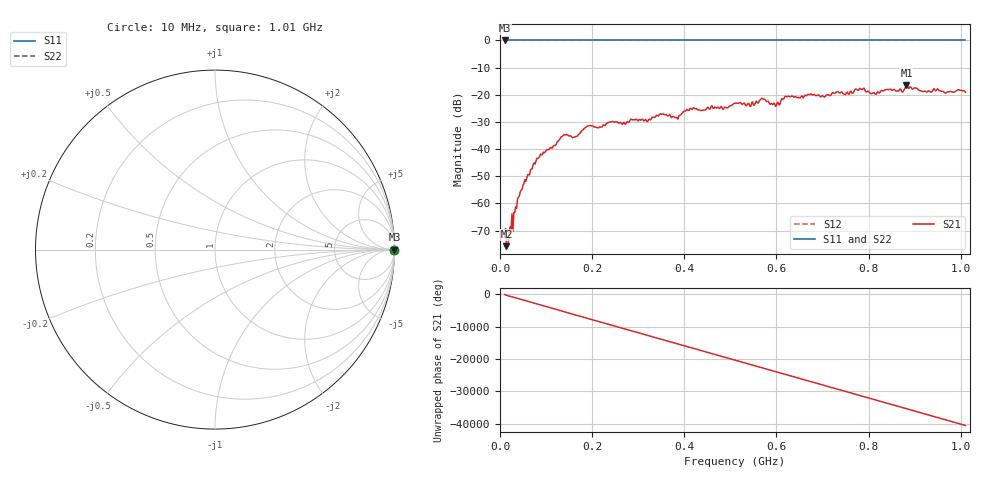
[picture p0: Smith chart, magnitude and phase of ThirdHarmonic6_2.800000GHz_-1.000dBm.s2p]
! 8/17/2025 7:17:37 AM
! C:\ANRITSUVNA\TEMP\TEMP.S2P
! CHANNEL.1
! TR.MEASUREMENT
! RAW.DATA
! RF.CORRECTION.OFF
! AVERAGING.OFF
! IF.BANDWIDTH: 5KHZ
! SWEEPTYPE:  FREQ.SWEEP(Linear)
! Reference Plane Port Info
! PORT:  PORT1  PORT2
! DISTANCE:  0  m  0  m
! TIME:  0  s  0  s
! PHASE.OFFSET:  0  deg.  0  deg.
! LOSS:  0  dB  0  dB
! REF.LOSS:  0  dB  0  dB
! REF.FREQ:  0  Hz  0  Hz
! Power Info
! POWER:  -20  dBm  -20  dBm
! EFF.POWER:  -20  dBm  -20  dBm
! SOURCE.ATTEN:  0  dB  0  dB
! TEST.ATTEN:  0  dB  0  dB
# GHZ S RI R 50.0
! FREQ.GHZ  S11RE  S11IM  S21RE  S21IM  S12RE  S12IM  S22RE  S22IM
!; PortSelection: Port_12
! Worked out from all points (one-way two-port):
!   501 points, 10 MHz to 1.01 GHz, reference 50 ohm
!   highest |S21| = -16.46 dB at 882 MHz (marker M1); lowest = -75.7 dB at 14 MHz (marker M2)
!   lowest |S11| = 0.0 dB at 10 MHz (marker M3)
!   |S11| at or under -10 dB: nowhere
!   |S22| runs from 0.0 to 0.0 dB; largest |S21 - S12| = 1.1
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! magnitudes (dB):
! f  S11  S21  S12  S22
! 10 MHz  0.0  -72.5  0.0  0.0
! 14 MHz  0.0  -75.7  0.0  0.0
! 20 MHz  0.0  -70.0  0.0  0.0
! 42 MHz  0.0  -57.2  0.0  0.0
! 76 MHz  0.0  -45.5  0.0  0.0
! 136 MHz  0.0  -35.2  0.0  0.0
! 162 MHz  0.0  -35.6  0.0  0.0
! 178 MHz  0.0  -33.1  0.0  0.0
! 192 MHz  0.0  -31.5  0.0  0.0
! 322 MHz  0.0  -29.3  0.0  0.0
! 344 MHz  0.0  -27.8  0.0  0.0
! 382 MHz  0.0  -28.4  0.0  0.0
! 416 MHz  0.0  -25.3  0.0  0.0
! 510 MHz  0.0  -23.1  0.0  0.0
! 546 MHz  0.0  -23.1  0.0  0.0
! 570 MHz  0.0  -21.4  0.0  0.0
! 602 MHz  0.0  -22.7  0.0  0.0
! 622 MHz  0.0  -20.7  0.0  0.0
! 678 MHz  0.0  -20.1  0.0  0.0
! 844 MHz  0.0  -18.1  0.0  0.0
! 882 MHz  0.0  -16.5  0.0  0.0
! 1.01 GHz  0.0  -19.1  0.0  0.0
